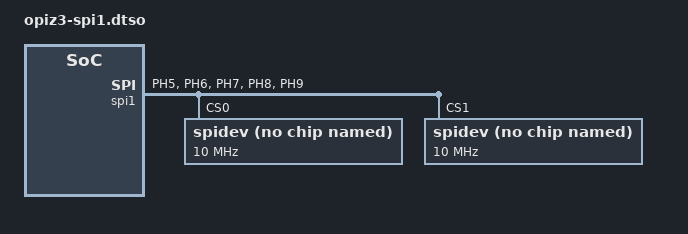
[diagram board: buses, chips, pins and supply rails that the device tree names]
/dts-v1/;
/plugin/;

&{/aliases} {
	spi0 = "/soc/spi@5010000";
	spi1 = "/soc/spi@5011000";
};

&pio {
	opiz3_spi1_pins: opiz3-spi1-pins {
		pins = "PH5", "PH6", "PH7", "PH8", "PH9";
		function = "spi1";
	};
};

&spi1 {
	pinctrl-names = "default";
	pinctrl-0 = <&opiz3_spi1_pins>;
	#address-cells = <1>;
	#size-cells = <0>;
	status = "okay";

	spidev@0 {
		compatible = "rohm,dh2228fv";
		reg = <0>;
		spi-max-frequency = <10000000>;
	};

	spidev@1 {
		compatible = "rohm,dh2228fv";
		reg = <1>;
		spi-max-frequency = <10000000>;
	};
};
